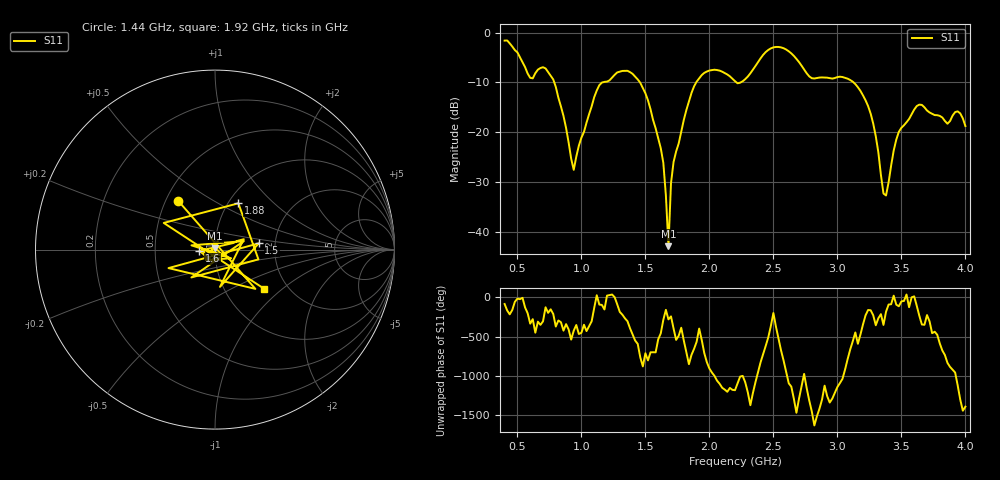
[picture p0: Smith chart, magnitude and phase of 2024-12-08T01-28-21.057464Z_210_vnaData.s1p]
!Created with skrf (http://scikit-rf.org).
# Hz S RI R 50.0
!freq ReS11 ImS11
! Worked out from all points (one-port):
!   181 points, 400 MHz to 4 GHz, reference 50 ohm
!   lowest |S11| = -42.8 dB at 1.68 GHz (marker M1), VSWR 1.01, Z = 50.1 + j0.71 ohm
!   |S11| at or under -10 dB: 788.1 MHz to 1.162 GHz (373.9 MHz wide, 38.3 % of centre); 1.458 GHz to 1.897 GHz (438.7 MHz wide, 26.2 % of centre); 3.127 GHz to end of sweep (the widest 3 of 4)
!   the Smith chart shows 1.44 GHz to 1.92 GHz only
!   S11 on the Smith chart (normalised r, x): 1.44 GHz: 0.58, +0.36; 1.5 GHz: 1.64, +0.12; 1.6 GHz: 0.84, -0.01; 1.88 GHz: 1.11, +0.63; 1.92 GHz: 1.52, -0.75
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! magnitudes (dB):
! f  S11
! 400 MHz  -1.6
! 600 MHz  -9.1
! 720 MHz  -7.2
! 860 MHz  -16.7
! 940 MHz  -27.5
! 1.12 GHz  -11.6
! 1.3 GHz  -7.8
! 1.44 GHz  -9.4
! 1.5 GHz  -12.2
! 1.6 GHz  -21.2
! 1.64 GHz  -26.1
! 1.68 GHz  -42.8
! 1.7 GHz  -30.2
! 1.76 GHz  -22.2
! 1.88 GHz  -10.8
! 1.92 GHz  -9.2
! 2.2 GHz  -9.7
! 2.48 GHz  -3.2
! 2.66 GHz  -4.7
! 2.8 GHz  -9.1
! 3.1 GHz  -9.5
! 3.26 GHz  -16.3
! 3.36 GHz  -32.2
! 3.38 GHz  -32.6
! 3.46 GHz  -21.4
! 3.56 GHz  -17.3
! 3.66 GHz  -14.5
! 4 GHz  -18.7
